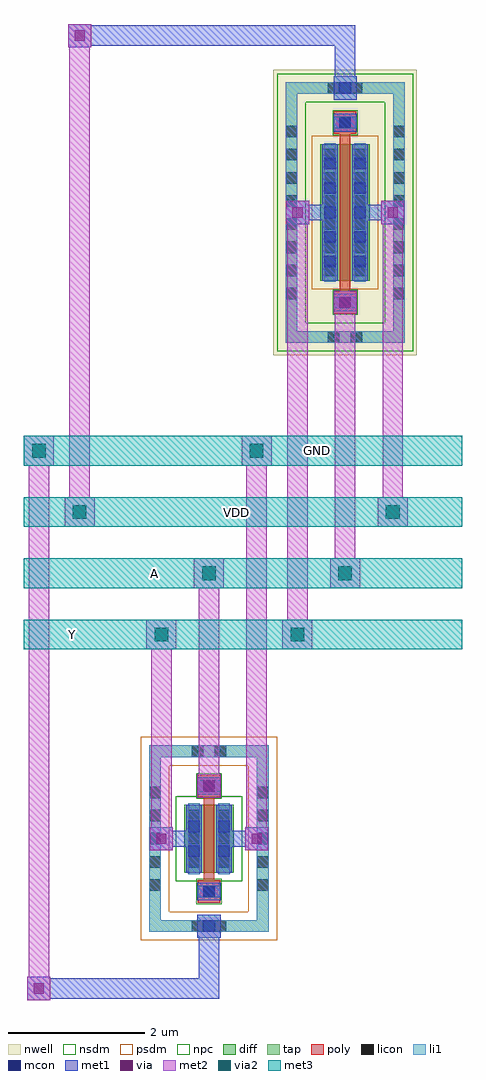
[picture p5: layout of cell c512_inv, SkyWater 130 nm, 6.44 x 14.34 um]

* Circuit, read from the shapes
.subckt c512_inv A GND VDD Y
XM1 GND A Y GND sky130_fd_pr__nfet_01v8 w=1 l=0.15
XM2 VDD A Y VDD sky130_fd_pr__pfet_01v8 w=2 l=0.15
.ends

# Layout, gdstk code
import gdstk
lib = gdstk.Library(unit=1e-6, precision=1e-09)
def R(c, l, rs):  # rectangles x0, y0, x1, y1
    for r in rs: c.add(gdstk.rectangle(r[:2], r[2:], *l))
def A(c, l, x, y, w, h, nx, ny, dx, dy):  # array of equal rectangles
    R(c, l, [(x+i*dx, y+j*dy, x+i*dx+w, y+j*dy+h) for i in range(nx) for j in range(ny)])
nwell = (64, 20)
diff = (65, 20)
tap = (65, 44)
poly = (66, 20)
licon = (66, 44)
li1 = (67, 20)
mcon = (67, 44)
met1 = (68, 20)
via = (68, 44)
met2 = (69, 20)
via2 = (69, 44)
met3 = (70, 20)
nsdm = (93, 44)
psdm = (94, 20)
npc = (95, 20)

c512_inv = lib.new_cell('c512_inv')
R(c512_inv, nwell, [(3.945,7.105,6.055,11.295)])
R(c512_inv, diff, [(2.635,-0.5,3.365,0.5), (4.635,8.2,5.365,10.2)])
R(c512_inv, tap, [(2.125,-1.37,3.875,-1.2), (2.125,-1.2,2.295,1.2), (3.705,-1.2,3.875,1.2), (2.125,1.2,3.875,1.37), (4.125,7.285,5.875,7.455), (4.125,7.455,4.295,10.945), (5.705,7.455,5.875,10.945), (4.125,10.945,5.875,11.115)])
R(c512_inv, poly, [(2.835,-0.94,3.165,-0.61), (2.925,-0.61,3.075,0.61), (2.835,0.61,3.165,0.94), (4.835,7.715,5.165,8.045), (4.925,8.045,5.075,10.355), (4.835,10.355,5.165,10.685)])
A(c512_inv, licon, 2.125, -0.765, 0.17, 0.17, 1, 5, 0, 0.34)
A(c512_inv, licon, 3.705, -0.765, 0.17, 0.17, 1, 5, 0, 0.34)
A(c512_inv, licon, 2.695, -0.425, 0.17, 0.17, 1, 3, 0, 0.34)
A(c512_inv, licon, 3.135, -0.425, 0.17, 0.17, 1, 3, 0, 0.34)
A(c512_inv, licon, 4.125, 7.925, 0.17, 0.17, 1, 8, 0, 0.34)
A(c512_inv, licon, 5.705, 7.925, 0.17, 0.17, 1, 8, 0, 0.34)
A(c512_inv, licon, 4.695, 8.265, 0.17, 0.17, 1, 6, 0, 0.34)
A(c512_inv, licon, 5.135, 8.265, 0.17, 0.17, 1, 6, 0, 0.34)
R(c512_inv, licon, [(2.745,-1.37,2.915,-1.2), (3.085,-1.37,3.255,-1.2), (2.915,-0.86,3.085,-0.69), (2.915,0.69,3.085,0.86), (2.745,1.2,2.915,1.37), (3.085,1.2,3.255,1.37), (4.745,7.285,4.915,7.455), (5.085,7.285,5.255,7.455), (4.915,7.795,5.085,7.965), (4.915,10.435,5.085,10.605), (4.745,10.945,4.915,11.115), (5.085,10.945,5.255,11.115)])
R(c512_inv, li1, [(2.83,-1.455,3.17,-1.37), (2.125,-1.37,3.875,-1.2), (2.125,-1.2,2.295,1.2), (2.83,-1.2,3.17,-1.115), (3.705,-1.2,3.875,1.2), (2.835,-0.86,3.165,-0.69), (2.695,-0.52,2.865,0.52), (3.135,-0.52,3.305,0.52), (2.835,0.69,3.165,0.86), (2.125,1.2,3.875,1.37), (4.125,7.285,5.875,7.455), (4.125,7.455,4.295,10.945), (5.705,7.455,5.875,10.945), (4.835,7.795,5.165,7.965), (4.695,8.18,4.865,10.22), (5.135,8.18,5.305,10.22), (4.835,10.435,5.165,10.605), (4.83,10.86,5.17,10.945), (4.125,10.945,5.875,11.115), (4.83,11.115,5.17,11.2)])
A(c512_inv, mcon, 4.695, 8.395, 0.17, 0.17, 1, 5, 0, 0.36)
A(c512_inv, mcon, 5.135, 8.395, 0.17, 0.17, 1, 5, 0, 0.36)
R(c512_inv, mcon, [(2.915,-1.37,3.085,-1.2), (2.915,-0.86,3.085,-0.69), (2.695,-0.265,2.865,-0.095), (3.135,-0.265,3.305,-0.095), (2.695,0.095,2.865,0.265), (3.135,0.095,3.305,0.265), (2.915,0.69,3.085,0.86), (4.915,7.795,5.085,7.965), (4.915,10.435,5.085,10.605), (4.915,10.945,5.085,11.115)])
R(c512_inv, met1, [(0.33,-2.37,0.67,-2.35), (0.33,-2.35,3.15,-2.05), (0.33,-2.05,0.67,-2.03), (2.85,-2.05,3.15,-1.455), (2.83,-1.455,3.17,-1.115), (2.83,-0.905,3.17,-0.645), (2.665,-0.5,2.895,-0.115), (3.105,-0.5,3.335,-0.115), (2.13,-0.17,2.47,-0.115), (3.53,-0.17,3.87,-0.115), (2.13,-0.115,2.895,0.115), (3.105,-0.115,3.87,0.115), (2.13,0.115,2.47,0.17), (2.665,0.115,2.895,0.5), (3.105,0.115,3.335,0.5), (3.53,0.115,3.87,0.17), (2.83,0.645,3.17,0.905), (4.83,7.75,5.17,8.01), (4.665,8.2,4.895,9.085), (5.105,8.2,5.335,9.085), (4.13,9.03,4.47,9.085), (5.53,9.03,5.87,9.085), (4.13,9.085,4.895,9.315), (5.105,9.085,5.87,9.315), (4.13,9.315,4.47,9.37), (4.665,9.315,4.895,10.2), (5.105,9.315,5.335,10.2), (5.53,9.315,5.87,9.37), (4.83,10.39,5.17,10.65), (4.83,10.86,5.17,11.2), (4.85,11.2,5.15,11.65), (0.93,11.63,1.27,11.65), (0.93,11.65,5.15,11.95), (0.93,11.95,1.27,11.97)])
R(c512_inv, via, [(0.425,-2.275,0.575,-2.125), (2.225,-0.075,2.375,0.075), (3.625,-0.075,3.775,0.075), (2.925,0.7,3.075,0.85), (4.925,7.805,5.075,7.955), (4.225,9.125,4.375,9.275), (5.625,9.125,5.775,9.275), (1.025,11.725,1.175,11.875)])
R(c512_inv, met2, [(0.33,-2.37,0.67,-2.03), (0.35,-2.03,0.65,5.48), (2.13,-0.17,2.47,0.17), (3.53,-0.17,3.87,0.17), (2.15,0.17,2.45,2.78), (3.55,0.17,3.85,5.48), (2.83,0.605,3.17,0.945), (2.85,0.945,3.15,3.68), (2.08,2.78,2.52,3.22), (4.08,2.78,4.52,3.22), (4.15,3.22,4.45,9.03), (2.78,3.68,3.22,4.12), (4.78,3.68,5.22,4.12), (4.85,4.12,5.15,7.71), (0.88,4.58,1.32,5.02), (5.48,4.58,5.92,5.02), (0.95,5.02,1.25,11.63), (5.55,5.02,5.85,9.03), (0.28,5.48,0.72,5.92), (3.48,5.48,3.92,5.92), (4.83,7.71,5.17,8.05), (4.13,9.03,4.47,9.37), (5.53,9.03,5.87,9.37), (0.93,11.63,1.27,11.97)])
R(c512_inv, via2, [(2.2,2.9,2.4,3.1), (4.2,2.9,4.4,3.1), (2.9,3.8,3.1,4), (4.9,3.8,5.1,4), (1,4.7,1.2,4.9), (5.6,4.7,5.8,4.9), (0.4,5.6,0.6,5.8), (3.6,5.6,3.8,5.8)])
A(c512_inv, met3, 0.28, 2.78, 6.44, 0.44, 1, 4, 0, 0.9)
R(c512_inv, nsdm, [(2.51,-0.625,3.49,0.625), (4,7.16,6,7.58), (4,7.58,4.42,10.82), (5.58,7.58,6,10.82), (4,10.82,6,11.24)])
R(c512_inv, psdm, [(2,-1.495,4,-1.075), (2,-1.075,2.42,1.075), (3.58,-1.075,4,1.075), (2,1.075,4,1.495), (4.51,8.075,5.49,10.325)])
R(c512_inv, npc, [(2.815,-0.96,3.185,-0.59), (2.815,0.59,3.185,0.96), (4.815,7.695,5.185,8.065), (4.815,10.335,5.185,10.705)])
c512_inv.add(gdstk.Label('Y', (1,3), layer=70, texttype=5))
c512_inv.add(gdstk.Label('A', (2.2,3.9), layer=70, texttype=5))
c512_inv.add(gdstk.Label('VDD', (3.4,4.8), layer=70, texttype=5))
c512_inv.add(gdstk.Label('GND', (4.6,5.7), layer=70, texttype=5))

lib.write_gds('c512_inv.gds')
